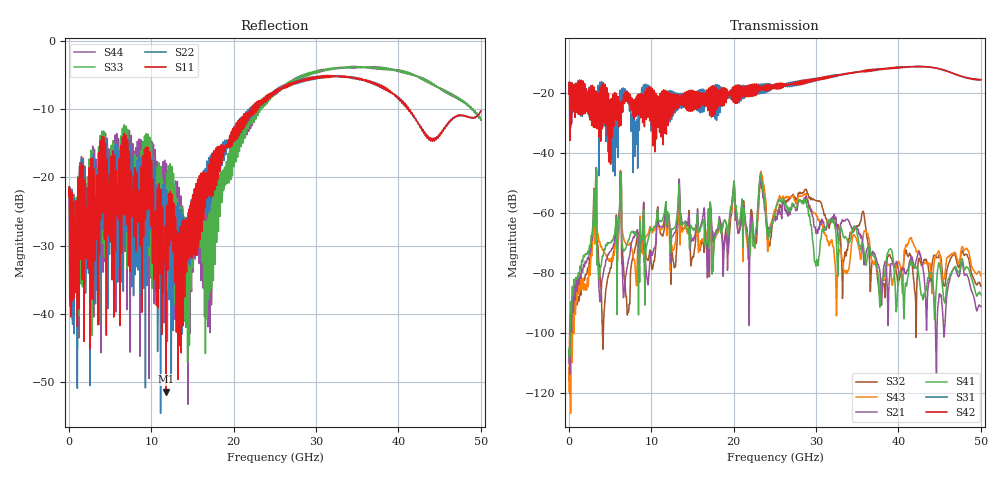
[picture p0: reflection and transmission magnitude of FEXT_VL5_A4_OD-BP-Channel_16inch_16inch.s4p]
#	Hz	S	RI	R	50
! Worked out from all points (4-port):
!   2500 points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, 20 MHz to 50 GHz, reference 50 ohm
!   strongest paths, dB at 20 MHz, 12.52 GHz, 25.02 GHz, 37.52 GHz, 50 GHz:
!     S42: -20.3, -22.3, -17.3, -12.0, -15.5
!     S31: -20.3, -21.3, -18.1, -12.0, -15.5
!     S41: -107.9, -65.3, -60.4, -80.5, -87.2
!     S21: -110.1, -67.8, -62.2, -77.0, -91.2
!     S43: -119.6, -71.6, -59.6, -81.3, -80.9
!     S32: -115.7, -73.1, -61.6, -82.9, -84.4
!   lowest |S11| = -51.3 dB at 11.78 GHz (marker M1), VSWR 1.01, Z = 49.7 - j0.0585 ohm
!   |S11| at or under -10 dB: start of sweep to 22.14 GHz; 22.2 GHz to 22.33 GHz (127.1 MHz wide, 0.571 % of centre); 41.23 GHz to end of sweep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
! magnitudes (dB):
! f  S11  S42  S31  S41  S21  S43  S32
! 20 MHz  -22.8  -20.3  -20.3  -107.9  -110.1  -119.6  -115.7
! 11.78 GHz  -51.3  -23.6  -21.4  -56.9  -56.3  -57.4  -56.3
! 21.74 GHz  -11.1  -17.8  -19.8  -69.2  -70.0  -74.9  -69.3
! 23.42 GHz  -8.6  -18.2  -17.4  -49.4  -51.7  -47.5  -49.8
! 24.32 GHz  -7.8  -17.8  -16.8  -67.7  -66.0  -66.6  -70.6
! 32.44 GHz  -5.2  -14.2  -14.0  -68.1  -62.3  -89.5  -64.3
! 50 GHz  -10.3  -15.5  -15.5  -87.2  -91.2  -80.9  -84.4
